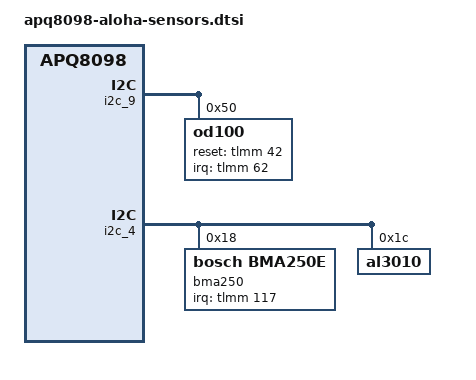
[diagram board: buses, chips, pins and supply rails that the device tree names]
/* Copyright (c) 2017, The Linux Foundation. All rights reserved.
 *
 * This program is free software; you can redistribute it and/or modify
 * it under the terms of the GNU General Public License version 2 and
 * only version 2 as published by the Free Software Foundation.
 *
 * This program is distributed in the hope that it will be useful,
 * but WITHOUT ANY WARRANTY; without even the implied warranty of
 * MERCHANTABILITY or FITNESS FOR A PARTICULAR PURPOSE.  See the
 * GNU General Public License for more details.
 */

#include <dt-bindings/gpio/gpio.h>
#include <dt-bindings/input/input.h>

&i2c_9 {
	od100@50 {
		compatible = "od100";
		reg = <0x50>;
		interrupt-parent = <&tlmm>;
		interrupts = <62 0>;
		interrupt-names = "od100_irq";
		qcom,reset = <&tlmm 42 GPIO_ACTIVE_HIGH>;
		fw_name = "OD_I2C_FLASH_IMAGE.bin";
	};
};

&i2c_4 {
	/* Accelerometer BMA250E*/
	bma250@18 {
		compatible = "bosch,bma250e";
		reg = <0x18>;
		interrupt-parent = <&tlmm>;
		interrupts = <117 (IRQ_TYPE_LEVEL_HIGH | IRQ_TYPE_EDGE_RISING)>;
	};

	al3010@1C {
		compatible = "al3010";
		reg = <0x1C>;
		#io-channel-cells = <1>;
	};
};

